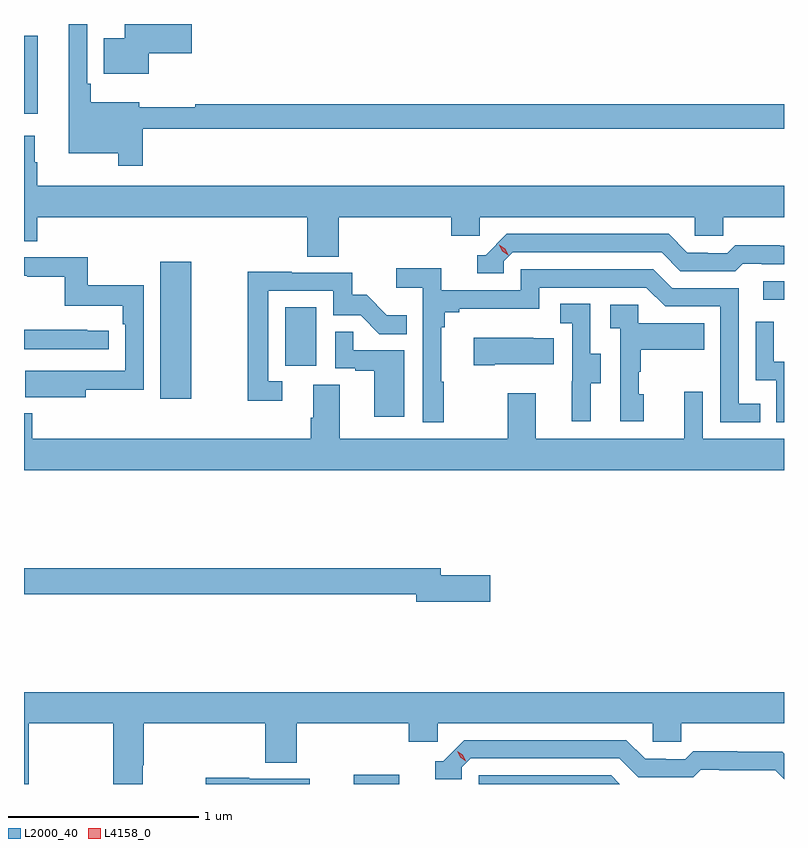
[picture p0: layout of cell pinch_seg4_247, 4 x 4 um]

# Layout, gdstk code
import gdstk
lib = gdstk.Library(unit=1e-6, precision=1e-09)
def R(c, l, rs):  # rectangles x0, y0, x1, y1
    for r in rs: c.add(gdstk.rectangle(r[:2], r[2:], *l))
def P(c, l, *ps):  # polygons
    for p in ps: c.add(gdstk.Polygon(p, *l))
L2000_40 = (2000, 40)
L4158_0 = (4158, 0)

pinch_seg4_247 = lib.new_cell('pinch_seg4_247')
R(pinch_seg4_247, L2000_40, [(952.005,825.804,952.244,825.854), (950.987,827.832,951.148,828.553), (951.644,828.006,951.808,828.313), (954.159,828.354,954.269,828.45), (950.269,829.331,950.341,829.741)])
P(pinch_seg4_247, L2000_40, [(950.894,829.254),(954.269,829.254),(954.269,829.382),(951.171,829.382),(951.171,829.367),(950.875,829.367),(950.875,829.393),(950.621,829.393),(950.621,829.489),(950.601,829.489),(950.601,829.804),(950.504,829.804),(950.504,829.124),(950.766,829.124),(950.766,829.059),(950.894,829.059)],
  [(950.926,829.649),(951.151,829.649),(951.151,829.804),(950.798,829.804),(950.798,829.729),(950.69,829.729),(950.69,829.541),(950.926,829.541)],
  [(951.926,828.788),(952.517,828.788),(952.517,828.69),(952.668,828.69),(952.668,828.788),(953.799,828.788),(953.799,828.69),(953.949,828.69),(953.949,828.788),(954.269,828.788),(954.269,828.952),(950.338,828.952),(950.338,829.076),(950.326,829.076),(950.326,829.216),(950.269,829.216),(950.269,828.661),(950.339,828.661),(950.339,828.788),(951.761,828.788),(951.761,828.58),(951.926,828.58)],
  [(952.794,828.555),(952.842,828.603),(953.625,828.603),(953.724,828.504),(954.013,828.504),(954.052,828.543),(954.151,828.543),(954.151,828.54),(954.269,828.54),(954.269,828.637),(954.246,828.637),(954.246,828.64),(954.013,828.64),(953.971,828.597),(953.868,828.597),(953.868,828.6),(953.761,828.6),(953.662,828.699),(952.809,828.699),(952.698,828.588),(952.655,828.588),(952.655,828.492),(952.794,828.492)],
  [(950.593,827.878),(950.898,827.878),(950.898,828.43),(950.605,828.43),(950.605,828.576),(950.269,828.576),(950.269,828.48),(950.287,828.48),(950.287,828.475),(950.484,828.475),(950.484,828.32),(950.789,828.32),(950.789,828.224),(950.802,828.224),(950.802,827.979),(950.489,827.979),(950.489,827.98),(950.275,827.98),(950.275,827.84),(950.593,827.84)],
  [(952.477,827.921),(952.465,827.921),(952.465,828.209),(952.484,828.209),(952.484,828.286),(952.561,828.286),(952.561,828.305),(952.98,828.305),(952.98,828.417),(953.544,828.417),(953.643,828.318),(953.934,828.318),(953.934,827.709),(954.143,827.709),(954.143,827.805),(954.03,827.805),(954.03,828.414),(953.68,828.414),(953.581,828.513),(952.884,828.513),(952.884,828.402),(952.466,828.402),(952.466,828.518),(952.227,828.518),(952.227,828.416),(952.368,828.416),(952.368,827.709),(952.477,827.709)],
  [(951.628,827.925),(951.555,827.925),(951.555,828.399),(951.897,828.399),(951.897,828.27),(952.041,828.27),(952.139,828.172),(952.283,828.172),(952.283,828.271),(952.179,828.271),(952.072,828.378),(951.996,828.378),(951.996,828.495),(951.677,828.495),(951.677,828.5),(951.447,828.5),(951.447,827.82),(951.628,827.82)],
  [(953.251,827.914),(953.305,827.914),(953.305,828.069),(953.25,828.069),(953.25,828.332),(953.091,828.332),(953.091,828.229),(953.154,828.229),(953.154,827.925),(953.153,827.925),(953.153,827.712),(953.251,827.712)],
  [(953.53,827.856),(953.505,827.856),(953.505,827.975),(953.515,827.975),(953.515,828.089),(953.849,828.089),(953.849,828.229),(953.502,828.229),(953.502,828.327),(953.355,828.327),(953.355,828.203),(953.406,828.203),(953.406,827.712),(953.53,827.712)],
  [(954.269,828.026),(954.216,828.026),(954.216,828.238),(954.12,828.238),(954.12,827.928),(954.228,827.928),(954.228,827.709),(954.269,827.709)],
  [(950.716,828.189),(950.603,828.189),(950.603,828.194),(950.269,828.194),(950.269,828.093),(950.716,828.093)],
  [(952.27,828.087),(952.001,828.087),(952.001,828.185),(951.906,828.185),(951.906,827.991),(952.013,827.991),(952.013,827.979),(952.112,827.979),(952.112,827.736),(952.27,827.736)],
  [(952.747,828.014),(953.057,828.014),(953.057,828.151),(952.949,828.151),(952.949,828.154),(952.635,828.154),(952.635,828.007),(952.747,828.007)],
  [(954.269,827.62),(953.841,827.62),(953.841,827.869),(953.744,827.869),(953.744,827.62),(952.963,827.62),(952.963,827.86),(952.816,827.86),(952.816,827.62),(951.931,827.62),(951.931,827.906),(951.791,827.906),(951.791,827.732),(951.779,827.732),(951.779,827.62),(950.312,827.62),(950.312,827.755),(950.269,827.755),(950.269,827.456),(954.269,827.456)],
  [(952.723,826.904),(952.462,826.904),(952.462,826.94),(950.269,826.94),(950.269,826.804),(952.334,826.804),(952.334,826.762),(952.723,826.762)],
  [(950.295,826.124),(950.74,826.124),(950.74,825.804),(950.895,825.804),(950.895,825.902),(950.9,825.902),(950.9,826.124),(951.539,826.124),(951.539,825.916),(951.704,825.916),(951.704,826.124),(952.295,826.124),(952.295,826.026),(952.446,826.026),(952.446,826.124),(953.577,826.124),(953.577,826.026),(953.727,826.026),(953.727,826.124),(954.269,826.124),(954.269,826.288),(950.269,826.288),(950.269,825.804),(950.295,825.804)],
  [(952.572,825.891),(952.62,825.939),(953.403,825.939),(953.502,825.84),(953.791,825.84),(953.83,825.879),(953.929,825.879),(953.929,825.876),(954.222,825.876),(954.269,825.829),(954.269,825.964),(954.26,825.973),(954.024,825.973),(954.024,825.976),(953.791,825.976),(953.749,825.933),(953.646,825.933),(953.646,825.936),(953.539,825.936),(953.44,826.035),(952.587,826.035),(952.476,825.924),(952.433,825.924),(952.433,825.828),(952.572,825.828)],
  [(953.359,825.849),(952.662,825.849),(952.662,825.804),(953.404,825.804)],
  [(951.774,825.831),(951.455,825.831),(951.455,825.836),(951.225,825.836),(951.225,825.804),(951.774,825.804)])
P(pinch_seg4_247, L4158_0, [(952.817,828.588),(952.786,828.608),(952.771,828.641),(952.771,828.642),(952.771,828.642),(952.802,828.621),(952.817,828.588),(952.817,828.588)],
  [(952.594,825.924),(952.564,825.944),(952.549,825.977),(952.549,825.977),(952.549,825.977),(952.579,825.957),(952.595,825.924),(952.595,825.924)])

lib.write_gds('pinch_seg4_247.gds')
